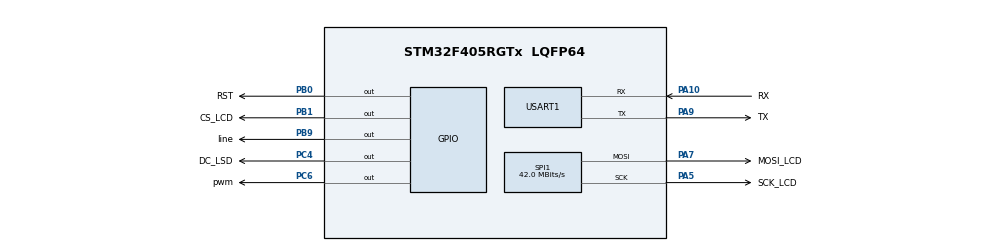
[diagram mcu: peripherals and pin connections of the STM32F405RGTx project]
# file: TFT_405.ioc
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Dma.Request0=USART1_RX
Dma.USART1_RX.0.Direction=DMA_PERIPH_TO_MEMORY
Dma.USART1_RX.0.FIFOMode=DMA_FIFOMODE_DISABLE
Dma.USART1_RX.0.Instance=DMA2_Stream2
Dma.USART1_RX.0.MemDataAlignment=DMA_MDATAALIGN_BYTE
Dma.USART1_RX.0.MemInc=DMA_MINC_ENABLE
Dma.USART1_RX.0.Mode=DMA_NORMAL
Dma.USART1_RX.0.PeriphDataAlignment=DMA_PDATAALIGN_BYTE
Dma.USART1_RX.0.PeriphInc=DMA_PINC_DISABLE
Dma.USART1_RX.0.Priority=DMA_PRIORITY_VERY_HIGH
Mcu.Family=STM32F4
Mcu.Name=STM32F405RGTx
Mcu.Package=LQFP64
NVIC.DMA2_Stream2_IRQn=true\:1\:0\:true\:false\:true\:false\:true\:true
NVIC.PriorityGroup=NVIC_PRIORITYGROUP_4
NVIC.TIM2_IRQn=true\:0\:0\:true\:false\:true\:true\:true\:true
NVIC.TIM4_IRQn=true\:4\:0\:true\:false\:true\:true\:true\:true
NVIC.TIM5_IRQn=true\:3\:0\:true\:false\:true\:true\:true\:true
NVIC.USART1_IRQn=true\:2\:0\:true\:false\:true\:true\:true\:true
PA10.GPIO_Label=RX
PA10.Mode=Asynchronous
PA10.Signal=USART1_RX
PA13.GPIO_Label=SWDIO
PA13.Mode=Serial_Wire
PA13.Signal=SYS_JTMS-SWDIO
PA14.GPIO_Label=SWCLK
PA14.Mode=Serial_Wire
PA14.Signal=SYS_JTCK-SWCLK
PA5.GPIO_Label=SCK_LCD
PA5.Mode=TX_Only_Simplex_Unidirect_Master
PA5.Signal=SPI1_SCK
PA7.GPIO_Label=MOSI_LCD
PA7.Mode=TX_Only_Simplex_Unidirect_Master
PA7.Signal=SPI1_MOSI
PA9.GPIO_Label=TX
PA9.Mode=Asynchronous
PA9.Signal=USART1_TX
PB0.GPIO_Label=RST
PB0.GPIO_Speed=GPIO_SPEED_FREQ_MEDIUM
PB0.PinState=GPIO_PIN_SET
PB0.Signal=GPIO_Output
PB1.GPIO_Label=CS_LCD
PB1.GPIO_Speed=GPIO_SPEED_FREQ_HIGH
PB1.PinState=GPIO_PIN_SET
PB1.Signal=GPIO_Output
PB9.GPIO_Label=line
PB9.Signal=GPIO_Output
PC4.GPIO_Label=DC_LSD
PC4.GPIO_Speed=GPIO_SPEED_FREQ_HIGH
PC4.Signal=GPIO_Output
PC6.GPIO_Label=pwm
PC6.GPIO_Speed=GPIO_SPEED_FREQ_HIGH
PC6.Signal=GPIO_Output
PH0-OSC_IN.GPIO_Label=RCC_IN
PH0-OSC_IN.Mode=HSE-External-Oscillator
PH0-OSC_IN.Signal=RCC_OSC_IN
PH1-OSC_OUT.GPIO_Label=RCC_OUT
PH1-OSC_OUT.Mode=HSE-External-Oscillator
PH1-OSC_OUT.Signal=RCC_OSC_OUT
ProjectManager.HeapSize=0x200
ProjectManager.StackSize=0x400
ProjectManager.TargetToolchain=STM32CubeIDE
RCC.48MHZClocksFreq_Value=84000000
RCC.AHBFreq_Value=168000000
RCC.APB1CLKDivider=RCC_HCLK_DIV4
RCC.APB1Freq_Value=42000000
RCC.APB1TimFreq_Value=84000000
RCC.APB2CLKDivider=RCC_HCLK_DIV2
RCC.APB2Freq_Value=84000000
RCC.APB2TimFreq_Value=168000000
RCC.CortexFreq_Value=168000000
RCC.HCLKFreq_Value=168000000
RCC.HSE_VALUE=8000000
RCC.HSI_VALUE=16000000
RCC.LSE_VALUE=32768
RCC.PLLM=4
RCC.PLLN=168
RCC.PLLSourceVirtual=RCC_PLLSOURCE_HSE
RCC.SYSCLKFreq_VALUE=168000000
RCC.SYSCLKSource=RCC_SYSCLKSOURCE_PLLCLK
RCC.VCOOutputFreq_Value=336000000
SPI1.CalculateBaudRate=42.0 MBits/s
SPI1.Direction=SPI_DIRECTION_2LINES
SPI1.Mode=SPI_MODE_MASTER
SPI1.VirtualType=VM_MASTER
TIM2.Period=6000
TIM2.Prescaler=33599
TIM4.Period=1249
TIM4.Prescaler=33599
TIM4.TIM_MasterOutputTrigger=TIM_TRGO_UPDATE
TIM5.AutoReloadPreload=TIM_AUTORELOAD_PRELOAD_ENABLE
TIM5.Period=1499
TIM5.Prescaler=33599
USART1.VirtualMode=VM_ASYNC
VP_TIM2_VS_ClockSourceINT.Mode=Internal
VP_TIM4_VS_ClockSourceINT.Mode=Internal
VP_TIM5_VS_ClockSourceINT.Mode=Internal
board=custom

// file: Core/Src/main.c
/* USER CODE BEGIN Header */
/**
  ******************************************************************************
  * @file           : main.c
  * @brief          : Main program body
  ******************************************************************************
  * @attention
  *
  * Copyright (c) 2026 STMicroelectronics.
  * All rights reserved.
  *
  * This software is licensed under terms that can be found in the LICENSE file
  * in the root directory of this software component.
  * If no LICENSE file comes with this software, it is provided AS-IS.
  *
  ******************************************************************************
  */
/* USER CODE END Header */
#include "main.h"
#include "dma.h"
#include "spi.h"
#include "tim.h"
#include "usart.h"
#include "gpio.h"

/* USER CODE BEGIN Includes */
#include "Init.h"
#include "images.h"
#include "usart_dma_rx.h"
/* USER CODE END Includes */

/* USER CODE BEGIN PD */
uint8_t hh = 3;//Корректировка высоты картинки
/* USER CODE END PD */

void SystemClock_Config(void);

/* USER CODE BEGIN 0 */
volatile uint8_t data_ready_flag = 0;
/* USER CODE END 0 */

int main(void)
{

  /* MCU Configuration--------------------------------------------------------*/

  /* Reset of all peripherals, Initializes the Flash interface and the Systick. */
  HAL_Init();

  /* Configure the system clock */
  SystemClock_Config();

  /* Initialize all configured peripherals */
  MX_GPIO_Init();
  MX_DMA_Init();
  MX_SPI1_Init();
  MX_USART1_UART_Init();
  MX_TIM2_Init();
  MX_TIM4_Init();
  MX_TIM5_Init();
  /* USER CODE BEGIN 2 */
  LL_SPI_Enable(SPI1);
  //DWT_Init();
  init_9488();
  /*
   TIM2 - задержка включения режима Off
   TIM4 - точки в часах
   TIM5 - кулер
   */

  //Чертим прямоугольник по периметру  72x23
  	fillScreen(0x0000);
  	fillRect(0, (0 + hh), 465, 2, ILI9488_CYAN); //горизонт
  	fillRect(0, (148 + hh), 465, 2, ILI9488_CYAN); //горизонт
  	fillRect(0, (2 + hh), 2, 148, ILI9488_CYAN); //вертикаль
  	fillRect(463, (2 + hh), 2, 148, ILI9488_CYAN); //вертикаль
  	fillRect(149, (0 + hh), 2, 150, ILI9488_CYAN); //вертикаль

  	drawImage(barbecue, 426, (6 + hh), 30, 140);
  	drawImage(termometr, 300, (6 + hh), 14, 35);
  	drawImage(regulator, 290, (107 + hh), 35, 35);

  	drawImage(zero_green, 342, (8 + hh), 15, 35);  //Текущая
  	drawImage(zero_green, 360, (8 + hh), 15, 35);  //темпера
  	drawImage(zero_green, 378, (8 + hh), 15, 35);  //тура

  	drawImage(zero_green, 342, (108 + hh), 15, 35);  //Установленная
  	drawImage(zero_green, 360, (108 + hh), 15, 35);  //темпера
  	drawImage(zero_green, 378, (108 + hh), 15, 35);  //тура

  	drawImage(zero, 318, (53 + hh), 20, 45);  //Время
  	drawImage(zero, 340, (53 + hh), 20, 45);  //--||--
  	drawImage(zero, 375, (53 + hh), 20, 45);  //--||--
  	drawImage(zero, 397, (53 + hh), 20, 45);  //--||--

  	drawImage(dots, 365, (63 + hh), 5, 25);

  	drawImage(grad_C, 402, (8 + hh), 8, 8);
  	drawImage(grad_C, 402, (108 + hh), 8, 8);

//  	drawImage(errorsScreen, 0, (0 + hh), 465, 150);
//  	drawImage(grillErr, 150, (66 + hh),88, 16);
//  	fillRect(0, (0 + hh), 465, 2, ILI9488_CYAN); //горизонт
//  	fillRect(0, (148 + hh), 465, 2, ILI9488_CYAN); //горизонт
//  	fillRect(0, (2 + hh), 2, 148, ILI9488_CYAN); //вертикаль
//  	fillRect(463, (2 + hh), 2, 148, ILI9488_CYAN); //вертикаль

  	//HAL_Delay(100000);

  	//drawImage(cooler_0, 200, (70 + hh), 50, 52);  //Вентилятор
//  	drawImage(cooler_180, 200, (70 + hh), 50, 52);

  	HAL_Delay(50); // для стабилизации системы

  	HAL_TIM_Base_Stop_IT(&htim2);
  	HAL_TIM_Base_Stop_IT(&htim5);
  	__HAL_UART_DISABLE(&huart1);
  	__HAL_UART_CLEAR_FLAG(&huart1,
  	UART_FLAG_IDLE | UART_FLAG_ORE | UART_FLAG_NE | UART_FLAG_FE | UART_FLAG_PE);
  	__HAL_UART_ENABLE(&huart1);
  	HAL_UART_Receive_DMA(&huart1, rxBuffer, RX_BUFFER_SIZE);//Запускаем USART через DMA
  	__HAL_UART_ENABLE_IT(&huart1, UART_IT_IDLE);//Разрешаем прерывание UART по концу передачи

  /* USER CODE END 2 */

  /* Infinite loop */
  /* USER CODE BEGIN WHILE */
  while (1)
  {
	  if(data_ready_flag){//если пришел валидный пакет по сети
	      data_ready_flag = 0;
	      check_images(); //рисуем то, что пришло по сети
	      }
	  if(is_cooler_mode){//если кулер разрешен
		  is_cooler_mode = 0;
			shiftCooler();
		}
		if(is_dots_mode){//если точки разрешены
			is_dots_mode = 0;//обнуляем флаг
			dots_img = !dots_img;//меняем видимость точек
			if(dots_img == 1) drawImage(dots, 365, (63 + hh), 5, 25);//Мигаем
			if(dots_img == 0) drawImage(dots_off, 365, (63 + hh), 5, 25);//точками в часах
		}
		if(isTurnOff){//если включен режим  Off
			isTurnOff = 0;
			turn_off();//Включаем повара
		}

//		fillScreen(0x0000);
//		  	fillRect(0, (0 + hh), 465, 2, ILI9488_CYAN); //горизонт
//		  	fillRect(0, (148 + hh), 465, 2, ILI9488_CYAN); //горизонт
//		  	fillRect(0, (2 + hh), 2, 148, ILI9488_CYAN); //вертикаль
//		  	fillRect(463, (2 + hh), 2, 148, ILI9488_CYAN); //вертикаль
//		  	drawImage(vnimanie, 170,  (8+hh),    188, 23);
//		TFT_WriteString(30, 60, "Обнаружена неисправность нижнего тена", Font_11x18, ILI9488_WHITE, ILI9488_BLACK);
//		HAL_Delay(500);
//		screen_first();

//	LL_GPIO_SetOutputPin(line_GPIO_Port, line_Pin);
//	HAL_Delay(500);
//	LL_GPIO_ResetOutputPin(line_GPIO_Port, line_Pin);
//		  HAL_Delay(500);
    /* USER CODE END WHILE */

  }
}

void SystemClock_Config(void)
{
  LL_FLASH_SetLatency(LL_FLASH_LATENCY_5);
  while(LL_FLASH_GetLatency()!= LL_FLASH_LATENCY_5)
  {
  }
  LL_PWR_SetRegulVoltageScaling(LL_PWR_REGU_VOLTAGE_SCALE1);
  LL_RCC_HSE_Enable();

   /* Wait till HSE is ready */
  while(LL_RCC_HSE_IsReady() != 1)
  {

  }
  LL_RCC_PLL_ConfigDomain_SYS(LL_RCC_PLLSOURCE_HSE, LL_RCC_PLLM_DIV_4, 168, LL_RCC_PLLP_DIV_2);
  LL_RCC_PLL_Enable();

   /* Wait till PLL is ready */
  while(LL_RCC_PLL_IsReady() != 1)
  {

  }
  while (LL_PWR_IsActiveFlag_VOS() == 0)
  {
  }
  LL_RCC_SetAHBPrescaler(LL_RCC_SYSCLK_DIV_1);
  LL_RCC_SetAPB1Prescaler(LL_RCC_APB1_DIV_4);
  LL_RCC_SetAPB2Prescaler(LL_RCC_APB2_DIV_2);
  LL_RCC_SetSysClkSource(LL_RCC_SYS_CLKSOURCE_PLL);

   /* Wait till System clock is ready */
  while(LL_RCC_GetSysClkSource() != LL_RCC_SYS_CLKSOURCE_STATUS_PLL)
  {

  }
  LL_SetSystemCoreClock(168000000);

   /* Update the time base */
  if (HAL_InitTick (TICK_INT_PRIORITY) != HAL_OK)
  {
    Error_Handler();
  }
}

void Error_Handler(void)
{
  __disable_irq();
  while (1)
  {
  }
}
